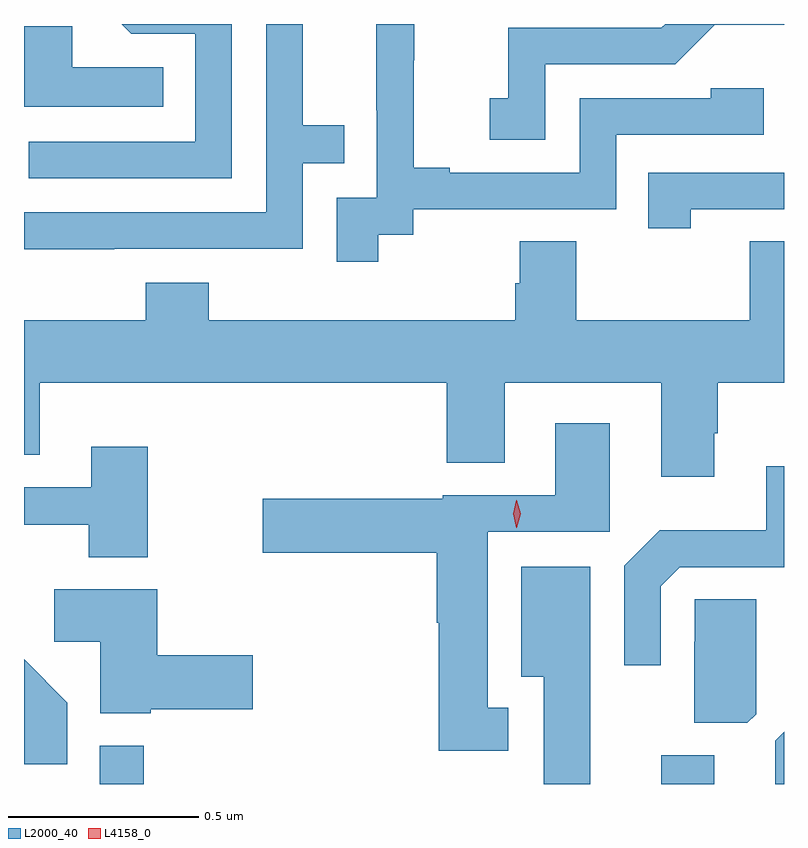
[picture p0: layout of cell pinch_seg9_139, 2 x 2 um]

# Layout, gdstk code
import gdstk
lib = gdstk.Library(unit=1e-6, precision=1e-09)
def R(c, l, rs):  # rectangles x0, y0, x1, y1
    for r in rs: c.add(gdstk.rectangle(r[:2], r[2:], *l))
def P(c, l, *ps):  # polygons
    for p in ps: c.add(gdstk.Polygon(p, *l))
L2000_40 = (2000, 40)
L4158_0 = (4158, 0)

pinch_seg9_139 = lib.new_cell('pinch_seg9_139')
R(pinch_seg9_139, L2000_40, [(654.417,1222.004,654.533,1222.105), (655.895,1222.004,656.035,1222.08)])
P(pinch_seg9_139, L2000_40, [(655.15,1223.449),(655.242,1223.449),(655.242,1223.517),(655.776,1223.517),(655.776,1223.712),(656.165,1223.712),(656.165,1223.835),(656.025,1223.835),(656.025,1223.808),(655.68,1223.808),(655.68,1223.613),(655.339,1223.613),(655.339,1223.626),(655.244,1223.626),(655.244,1223.909),(655.245,1223.909),(655.245,1224.004),(655.145,1224.004),(655.145,1223.777),(655.146,1223.777),(655.146,1223.547),(655.041,1223.547),(655.041,1223.379),(655.15,1223.379)],
  [(654.455,1223.412),(654.951,1223.412),(654.951,1223.637),(655.061,1223.637),(655.061,1223.738),(654.951,1223.738),(654.951,1224.004),(654.855,1224.004),(654.855,1223.508),(654.218,1223.508),(654.218,1223.411),(654.455,1223.411)],
  [(655.59,1223.898),(655.932,1223.898),(656.036,1224.002),(656.218,1224.002),(656.218,1224.004),(655.905,1224.004),(655.895,1223.994),(655.492,1223.994),(655.492,1223.809),(655.443,1223.809),(655.443,1223.7),(655.59,1223.7)],
  [(654.765,1224.004),(654.475,1224.004),(654.5,1223.979),(654.669,1223.979),(654.669,1223.694),(654.231,1223.694),(654.231,1223.598),(654.765,1223.598)],
  [(654.584,1223.89),(654.345,1223.89),(654.345,1223.998),(654.218,1223.998),(654.218,1223.786),(654.584,1223.786)],
  [(655.972,1223.517),(656.218,1223.517),(656.218,1223.613),(655.861,1223.613),(655.861,1223.466),(655.972,1223.466)],
  [(656.035,1222.927),(656.043,1222.927),(656.043,1223.06),(656.218,1223.06),(656.218,1223.432),(656.128,1223.432),(656.128,1223.224),(655.671,1223.224),(655.671,1223.432),(655.523,1223.432),(655.523,1223.322),(655.511,1223.322),(655.511,1223.224),(654.704,1223.224),(654.704,1223.323),(654.539,1223.323),(654.539,1223.224),(654.218,1223.224),(654.218,1222.87),(654.259,1222.87),(654.259,1223.06),(655.331,1223.06),(655.331,1222.849),(655.483,1222.849),(655.483,1223.06),(655.895,1223.06),(655.895,1222.812),(656.035,1222.812)],
  [(655.492,1222.205),(655.438,1222.205),(655.438,1222.668),(655.759,1222.668),(655.759,1222.954),(655.616,1222.954),(655.616,1222.764),(655.32,1222.764),(655.32,1222.755),(654.846,1222.755),(654.846,1222.613),(655.304,1222.613),(655.304,1222.429),(655.309,1222.429),(655.309,1222.092),(655.492,1222.092)],
  [(654.543,1222.891),(654.395,1222.891),(654.395,1222.785),(654.218,1222.785),(654.218,1222.686),(654.388,1222.686),(654.388,1222.601),(654.543,1222.601)],
  [(655.893,1222.524),(655.944,1222.575),(656.218,1222.575),(656.218,1222.84),(656.171,1222.84),(656.171,1222.672),(655.891,1222.672),(655.797,1222.578),(655.797,1222.317),(655.893,1222.317)],
  [(655.708,1222.576),(655.526,1222.576),(655.526,1222.286),(655.586,1222.286),(655.586,1222.004),(655.708,1222.004)],
  [(654.552,1222.201),(654.82,1222.201),(654.82,1222.343),(654.569,1222.343),(654.569,1222.516),(654.298,1222.516),(654.298,1222.378),(654.419,1222.378),(654.419,1222.19),(654.552,1222.19)],
  [(656.145,1222.188),(656.145,1222.49),(655.983,1222.49),(655.983,1222.379),(655.982,1222.379),(655.982,1222.165),(656.121,1222.165)],
  [(654.332,1222.218),(654.218,1222.332),(654.218,1222.056),(654.332,1222.056)],
  [(656.218,1222.141),(656.195,1222.118),(656.195,1222.004),(656.218,1222.004)])
P(pinch_seg9_139, L4158_0, [(655.514,1222.679),(655.514,1222.679),(655.505,1222.715),(655.514,1222.751),(655.515,1222.751),(655.515,1222.751),(655.525,1222.715),(655.515,1222.679)])

lib.write_gds('pinch_seg9_139.gds')
